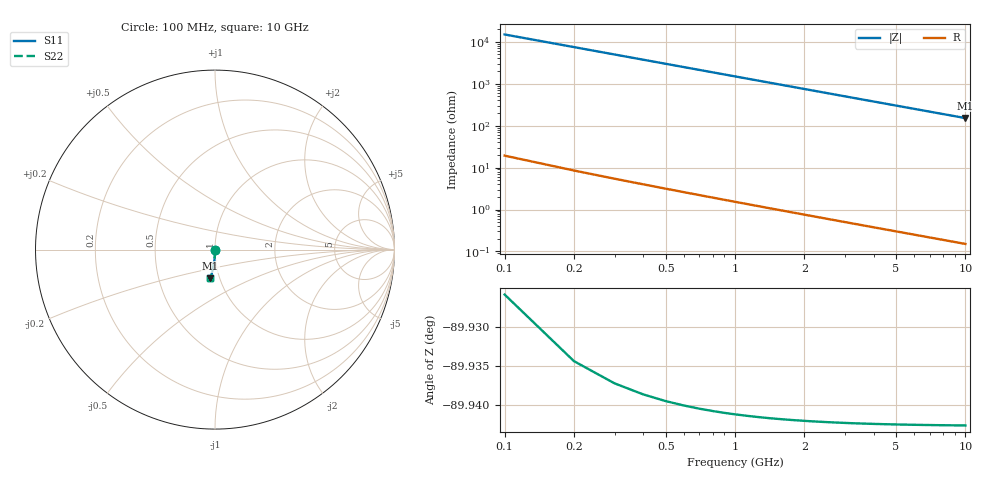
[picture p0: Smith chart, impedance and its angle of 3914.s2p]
# Hz S RI R 50.00
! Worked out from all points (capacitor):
!   100 points, 100 MHz to 10 GHz, reference 50 ohm
!   read as one part in shunt: C = 107 fF near 100 MHz
!   lowest |Z| = 151 ohm at 10 GHz (marker M1)
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1e8  -4.77e-06 -0.00168  1 -0.00168  1 -0.00168  -4.77e-06 -0.00168
2e8  -1.49e-05 -0.00336  1 -0.00337  1 -0.00337  -1.49e-05 -0.00336
3e8  -3.07e-05 -0.00504  1 -0.00505  1 -0.00505  -3.07e-05 -0.00504
4e8  -5.22e-05 -0.00672  0.9999 -0.00673  0.9999 -0.00673  -5.22e-05 -0.00672
5e8  -7.93e-05 -0.0084  0.9999 -0.00841  0.9999 -0.00841  -7.93e-05 -0.0084
6e8  -0.000112 -0.0101  0.9999 -0.0101  0.9999 -0.0101  -0.000112 -0.0101
7e8  -0.00015 -0.0118  0.9998 -0.0118  0.9998 -0.0118  -0.00015 -0.0118
8e8  -0.000194 -0.0134  0.9998 -0.0134  0.9998 -0.0134  -0.000194 -0.0134
9e8  -0.000244 -0.0151  0.9998 -0.0151  0.9998 -0.0151  -0.000244 -0.0151
1.1e9  -0.00036 -0.0185  0.9996 -0.0185  0.9996 -0.0185  -0.00036 -0.0185
1.4e9  -0.000575 -0.0235  0.9994 -0.0235  0.9994 -0.0235  -0.000575 -0.0235
1.8e9  -0.00094 -0.0301  0.9991 -0.0302  0.9991 -0.0302  -0.00094 -0.0301
2.1e9  -0.00127 -0.0351  0.9987 -0.0352  0.9987 -0.0352  -0.00127 -0.0351
2.5e9  -0.00179 -0.0417  0.9982 -0.0418  0.9982 -0.0418  -0.00179 -0.0417
2.9e9  -0.00239 -0.0483  0.9976 -0.0484  0.9976 -0.0484  -0.00239 -0.0483
3.4e9  -0.00327 -0.0565  0.9967 -0.0566  0.9967 -0.0566  -0.00327 -0.0565
4.2e9  -0.00495 -0.0696  0.9951 -0.0697  0.9951 -0.0697  -0.00495 -0.0696
5.1e9  -0.00724 -0.0842  0.9928 -0.0843  0.9928 -0.0843  -0.00724 -0.0842
5.9e9  -0.00962 -0.0971  0.9904 -0.0972  0.9904 -0.0972  -0.00962 -0.0971
6.7e9  -0.0123 -0.1098  0.9877 -0.11  0.9877 -0.11  -0.0123 -0.1098
8.4e9  -0.0191 -0.1364  0.9809 -0.1366  0.9809 -0.1366  -0.0191 -0.1364
1e10  -0.0268 -0.1609  0.9732 -0.1612  0.9732 -0.1612  -0.0268 -0.1609
